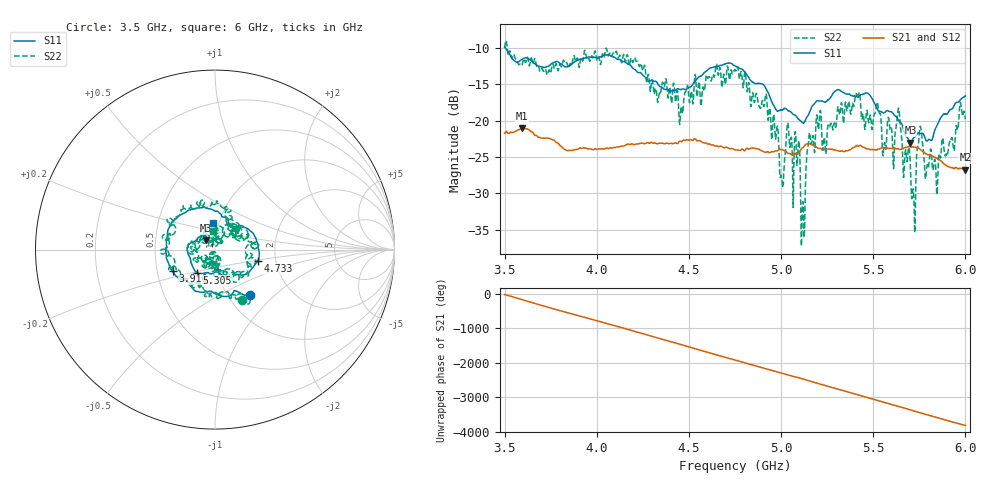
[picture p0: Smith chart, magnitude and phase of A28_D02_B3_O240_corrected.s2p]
! Created with skrf 1.9.0 (http://scikit-rf.org).
# Hz S RI R 50.0
!freq ReS11 ImS11 ReS21 ImS21 ReS12 ImS12 ReS22 ImS22
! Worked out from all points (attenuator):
!   1601 points, 3.5 GHz to 6 GHz, reference 50 ohm
!   highest |S21| = -21.07 dB at 3.592 GHz (marker M1); lowest = -26.7 dB at 6 GHz (marker M2)
!   lowest |S11| = -23.0 dB at 5.702 GHz (marker M3), VSWR 1.15, Z = 45.1 + j4.64 ohm
!   |S11| at or under -10 dB: 3.504 GHz to end of sweep
!   |S22| runs from -37.3 to -9.0 dB; largest |S21 - S12| = 0.001
!   S11 on the Smith chart (normalised r, x): 3.5 GHz: 1.26, -0.71; 3.916 GHz: 0.60, -0.16; 4.733 GHz: 1.61, -0.21; 5.305 GHz: 0.79, -0.21; 6 GHz: 0.94, +0.28
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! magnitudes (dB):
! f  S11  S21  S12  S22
! 3.5 GHz  -9.9  -21.7  -21.7  -10.0
! 3.592 GHz  -11.6  -21.1  -21.1  -12.4
! 3.916 GHz  -11.5  -23.8  -23.8  -11.4
! 3.917 GHz  -11.5  -23.8  -23.8  -11.4
! 4.334 GHz  -15.1  -23.1  -23.1  -17.0
! 4.733 GHz  -12.2  -23.8  -23.8  -13.3
! 4.75 GHz  -12.5  -24.0  -24.0  -13.0
! 4.927 GHz  -16.0  -24.2  -24.2  -18.9
! 5.003 GHz  -18.5  -24.0  -24.0  -28.1
! 5.033 GHz  -18.5  -24.4  -24.3  -20.7
! 5.088 GHz  -19.6  -24.5  -24.4  -26.2
! 5.119 GHz  -20.3  -23.7  -23.6  -31.1
! 5.147 GHz  -19.2  -23.2  -23.2  -23.4
! 5.167 GHz  -18.1  -23.3  -23.3  -22.9
! 5.305 GHz  -15.8  -24.1  -24.1  -18.9
! 5.584 GHz  -18.7  -23.8  -23.8  -19.7
! 5.639 GHz  -20.1  -23.9  -23.9  -18.3
! 5.702 GHz  -23.0  -23.6  -23.6  -26.4
! 5.719 GHz  -22.4  -23.6  -23.6  -29.9
! 5.752 GHz  -21.7  -23.9  -23.8  -21.1
! 5.839 GHz  -21.0  -25.1  -25.0  -26.4
! 6 GHz  -16.6  -26.7  -26.7  -19.8
